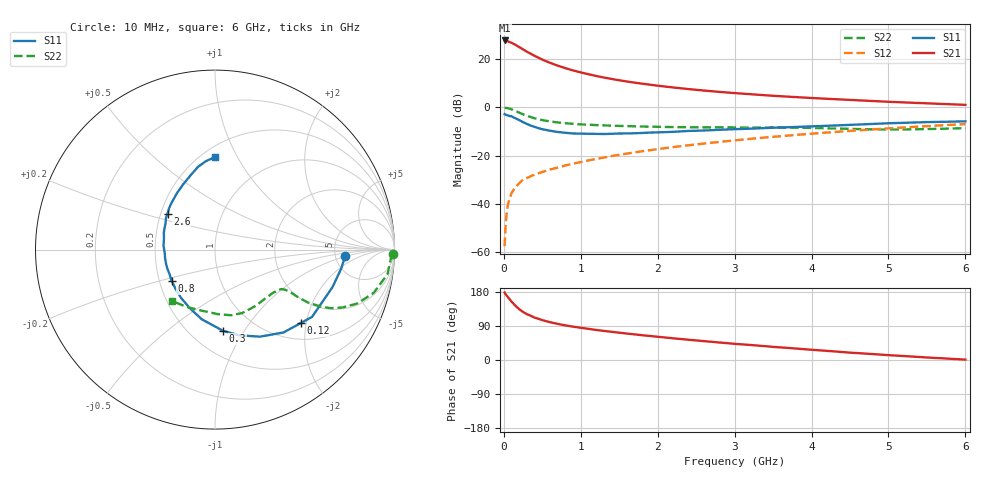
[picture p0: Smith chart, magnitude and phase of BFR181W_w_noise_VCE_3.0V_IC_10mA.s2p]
! Infineon Technologies  Discrete & RF Semiconductors
! BFR181W
! VCE =  3.0 V,  IC =  10 mA
! Common Emitter S-Parameters:  Jan 2017
# GHz  S  MA  R  50
!  f  S11  S21  S12  S22
! GHz  MAG  ANG  MAG  ANG  MAG  ANG  MAG  ANG
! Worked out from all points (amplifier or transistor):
!   77 points, 10 MHz to 6 GHz, reference 50 ohm
!   highest |S21| = 27.9 dB at 10 MHz (marker M1)
!   |S21| within 3 dB of that: start of sweep to 212.4 MHz
!   unconditionally stable (mu >= 1): 939.6 MHz to 2.922 GHz
!   at 130 MHz: K = 0.28, MSG = 30.3 dB, |S12| = -34.1 dB
!   at 2.2 GHz: K = 1.06, MAG = 11.0 dB, |S12| = -16.5 dB
!   at 6 GHz: K = 0.84, MSG = 4.0 dB, |S12| = -6.9 dB
!   lowest NFmin = 1.24 dB at 450 MHz
!   S11 on the Smith chart (normalised r, x): 10 MHz: 6.16, -0.93; 120 MHz: 1.37, -1.86; 300 MHz: 0.71, -0.81; 800 MHz: 0.58, -0.22; 2.6 GHz: 0.54, +0.24; 6 GHz: 0.58, +0.81
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0.01  0.7262 -2.8  24.83 178.0  0.0013 87.0  0.9906 -1.5
0.02  0.7112 -8.5  24.54 174.3  0.0029 99.7  0.981 -3.0
0.05  0.6872 -17.7  23.94 166.5  0.009 83.4  0.9708 -8.1
0.1  0.6581 -34.7  22.24 153.9  0.0164 74.9  0.9168 -15.2
0.12  0.629 -40.6  21.34 149.9  0.0186 72.1  0.8886 -17.3
0.15  0.5992 -50.4  20.22 143.2  0.0219 69.0  0.8486 -20.7
0.2  0.546 -62.7  18.07 134.1  0.0265 65.6  0.7805 -24.4
0.25  0.4952 -74.5  16.18 126.8  0.0315 63.4  0.7212 -26.9
0.3  0.4541 -84.5  14.47 120.9  0.0341 62.0  0.6697 -28.3
0.4  0.3948 -100.9  11.87 111.8  0.0402 60.9  0.5961 -29.6
0.5  0.3529 -114.2  9.913 105.2  0.0455 60.4  0.5465 -29.9
0.6  0.3282 -125.5  8.507 99.8  0.0511 62.1  0.5125 -29.7
0.7  0.3097 -135.3  7.42 95.3  0.056 62.9  0.4881 -29.5
0.8  0.2978 -144.3  6.588 91.4  0.0622 63.9  0.4705 -29.6
1.1  0.2839 -164.4  4.917 82.2  0.0792 66.2  0.4381 -30.3
1.5  0.2876 175.9  3.686 72.1  0.1037 67.5  0.4135 -33.5
2.1  0.3073 155.3  2.724 59.4  0.1428 67.0  0.3936 -41.8
2.6  0.3315 142.9  2.253 49.8  0.1775 65.5  0.3866 -50.7
3.1  0.3575 131.9  1.943 41.2  0.2143 63.0  0.3838 -59.8
4.1  0.4103 114.3  1.547 25.6  0.2928 56.4  0.3719 -78.5
5.1  0.4746 100.5  1.295 11.6  0.3758 47.9  0.348 -104.6
6  0.5149 90.0  1.134 1.0  0.4516 39.1  0.3726 -129.8
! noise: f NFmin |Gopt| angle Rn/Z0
0.45  1.24  0.15  16  0.21
0.9  1.29  0.14  31  0.21
1.9  1.71  0.03  142  0.2
2.4  1.88  0.02  -166  0.24
